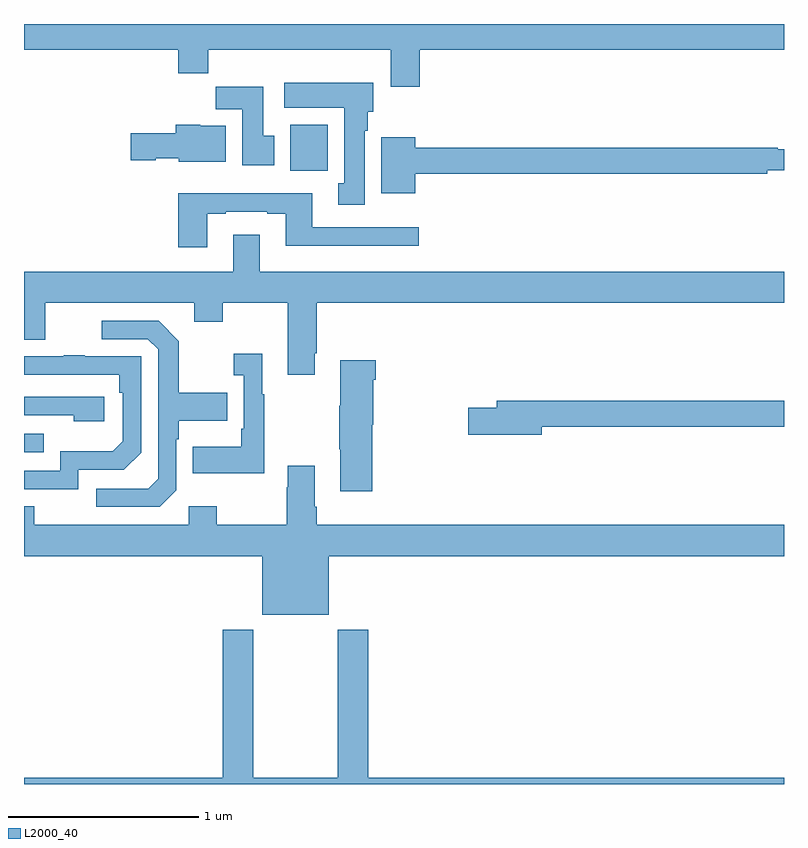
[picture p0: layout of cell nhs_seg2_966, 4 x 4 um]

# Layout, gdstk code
import gdstk
lib = gdstk.Library(unit=1e-6, precision=1e-09)
def R(c, l, rs):  # rectangles x0, y0, x1, y1
    for r in rs: c.add(gdstk.rectangle(r[:2], r[2:], *l))
def P(c, l, *ps):  # polygons
    for p in ps: c.add(gdstk.Polygon(p, *l))
L2000_40 = (2000, 40)

nhs_seg2_966 = lib.new_cell('nhs_seg2_966')
R(nhs_seg2_966, L2000_40, [(161,617.547,161.105,617.643), (162.401,619.028,162.598,619.27)])
P(nhs_seg2_966, L2000_40, [(163.082,619.664),(165,619.664),(165,619.8),(161,619.8),(161,619.664),(161.813,619.664),(161.813,619.54),(161.969,619.54),(161.969,619.664),(162.929,619.664),(162.929,619.47),(163.082,619.47)],
  [(162.793,619.238),(162.808,619.238),(162.808,619.338),(162.838,619.338),(162.838,619.492),(162.369,619.492),(162.369,619.358),(162.686,619.358),(162.686,618.962),(162.653,618.962),(162.653,618.849),(162.793,618.849)],
  [(162.316,619.212),(162.259,619.212),(162.259,619.471),(162.01,619.471),(162.01,619.352),(162.149,619.352),(162.149,619.056),(162.316,619.056)],
  [(162.061,619.264),(161.928,619.264),(161.928,619.27),(161.798,619.27),(161.798,619.224),(161.562,619.224),(161.562,619.082),(161.694,619.082),(161.694,619.094),(161.814,619.094),(161.814,619.076),(162.061,619.076)],
  [(163.06,619.012),(164.912,619.012),(164.912,619.031),(165,619.031),(165,619.141),(164.966,619.141),(164.966,619.148),(163.06,619.148),(163.06,619.204),(162.881,619.204),(162.881,618.908),(163.06,618.908)],
  [(161.965,618.801),(162.061,618.801),(162.061,618.813),(162.281,618.813),(162.281,618.801),(162.377,618.801),(162.377,618.632),(163.078,618.632),(163.078,618.729),(162.517,618.729),(162.517,618.91),(161.813,618.91),(161.813,618.624),(161.965,618.624)],
  [(162.529,618.067),(162.542,618.067),(162.542,618.332),(165,618.332),(165,618.496),(162.241,618.496),(162.241,618.691),(162.101,618.691),(162.101,618.496),(161,618.496),(161,618.138),(161.113,618.138),(161.113,618.332),(161.897,618.332),(161.897,618.233),(162.045,618.233),(162.045,618.332),(162.389,618.332),(162.389,617.955),(162.529,617.955)],
  [(161.802,617.346),(161.802,617.615),(161.815,617.615),(161.815,617.711),(162.071,617.711),(162.071,617.859),(161.815,617.859),(161.815,618.131),(161.709,618.237),(161.409,618.237),(161.409,618.141),(161.652,618.141),(161.706,618.087),(161.706,617.406),(161.655,617.355),(161.379,617.355),(161.379,617.259),(161.715,617.259)],
  [(162.265,617.851),(162.253,617.851),(162.253,618.064),(162.105,618.064),(162.105,617.951),(162.156,617.951),(162.156,617.671),(162.144,617.671),(162.144,617.575),(161.887,617.575),(161.887,617.435),(162.265,617.435)],
  [(161.286,617.454),(161.526,617.454),(161.616,617.544),(161.616,618.051),(161.321,618.051),(161.321,618.056),(161.209,618.056),(161.209,618.051),(161,618.051),(161,617.955),(161.5,617.955),(161.5,617.858),(161.52,617.858),(161.52,617.604),(161.467,617.551),(161.19,617.551),(161.19,617.448),(161,617.448),(161,617.352),(161.286,617.352)],
  [(162.833,617.691),(162.838,617.691),(162.838,617.927),(162.851,617.927),(162.851,618.031),(162.665,618.031),(162.665,617.791),(162.658,617.791),(162.658,617.563),(162.665,617.563),(162.665,617.34),(162.833,617.34)],
  [(161.422,617.838),(161,617.838),(161,617.742),(161.261,617.742),(161.261,617.708),(161.422,617.708)],
  [(163.726,617.68),(165,617.68),(165,617.816),(163.487,617.816),(163.487,617.78),(163.338,617.78),(163.338,617.638),(163.726,617.638)],
  [(162.542,617.26),(162.529,617.26),(162.529,617.476),(162.389,617.476),(162.389,617.363),(162.382,617.363),(162.382,617.164),(162.015,617.164),(162.015,617.263),(161.868,617.263),(161.868,617.164),(161.055,617.164),(161.055,617.263),(161,617.263),(161,617),(162.254,617),(162.254,616.691),(162.604,616.691),(162.604,617),(165,617),(165,617.164),(162.542,617.164)],
  [(165,615.832),(162.812,615.832),(162.812,616.612),(162.652,616.612),(162.652,615.832),(162.207,615.832),(162.207,616.612),(162.047,616.612),(162.047,615.832),(161,615.832),(161,615.8),(165,615.8)])

lib.write_gds('nhs_seg2_966.gds')
